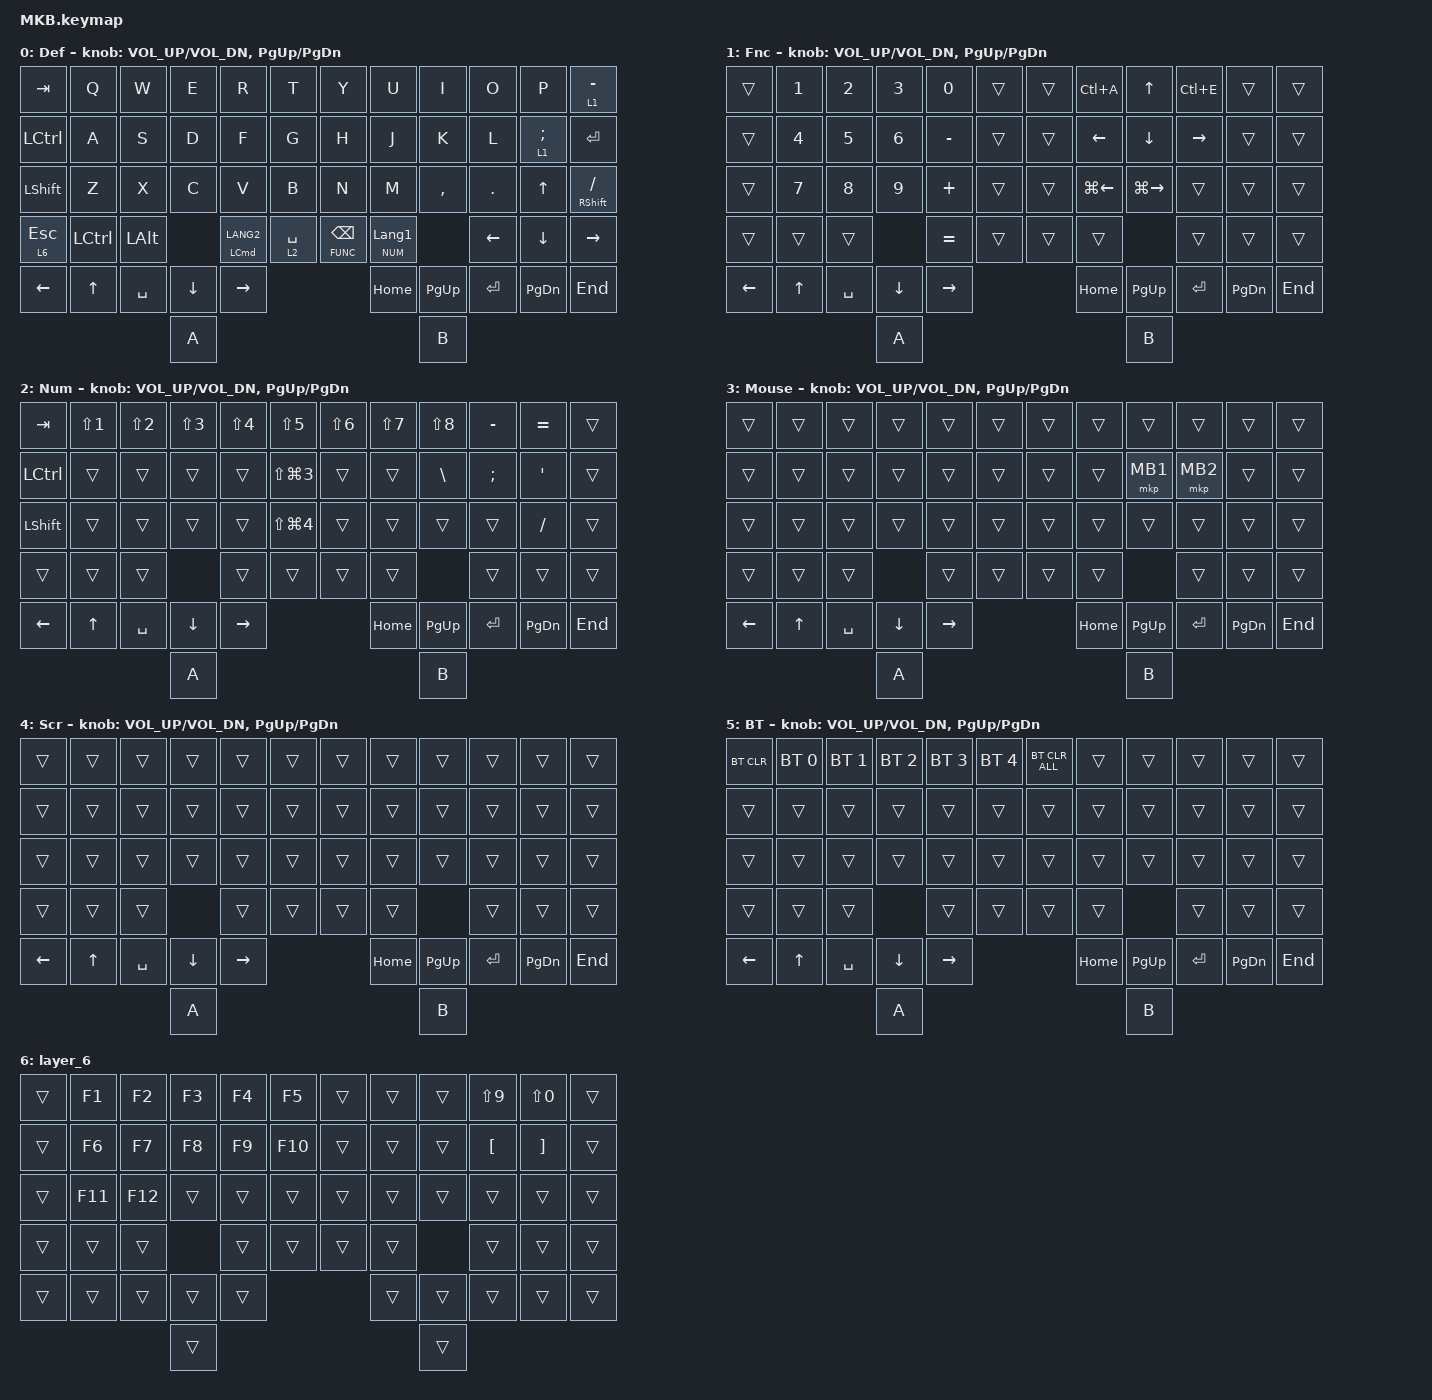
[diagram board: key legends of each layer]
// #include <layout_shift.dtsi>

#include <layout_shift_kp_override.dtsi>
#include <behaviors.dtsi>
#include <dt-bindings/zmk/bt.h>
#include <dt-bindings/zmk/keys.h>
#include <dt-bindings/zmk/pointing.h>

#define DEF 0
#define FUNC 1
#define NUM 2
#define MOUSE 3
#define SCROLL 4
#define BT 5

&mt {
    flavor = "balanced";
    tapping-term-ms = <280>;
    quick-tap-ms = <175>;
    require-prior-idle-ms = <150>;
};

/ {
    keymap {
        compatible = "zmk,keymap";

        default_layer {
            label = "Def";
            bindings = <
&kp TAB    &kp Q      &kp W         &kp E     &kp R                   &kp T            &kp Y               &kp U               &kp I      &kp O      &kp P       &lt 1 MINUS
&kp LCTRL  &kp A      &kp S         &kp D     &kp F                   &kp G            &kp H               &kp J               &kp K      &kp L      &lt 1 SEMI  &kp ENTER
&kp LSHFT  &kp Z      &kp X         &kp C     &kp V                   &kp B            &kp N               &kp M               &kp COMMA  &kp DOT    &kp UP      &mt RIGHT_SHIFT SLASH
&lt 6 ESC  &kp LCTRL  &kp LEFT_ALT            &mt LEFT_COMMAND LANG2  &lt 2 SPACE      &lt FUNC BACKSPACE  &lt NUM LANGUAGE_1             &kp LEFT   &kp DOWN    &kp RIGHT
&kp LEFT   &kp UP     &kp SPACE     &kp DOWN  &kp RIGHT                                                    &kp HOME            &kp PG_UP  &kp ENTER  &kp PG_DN   &kp END
                                    &kp A                                                                                      &kp B
            >;

            sensor-bindings = <&inc_dec_kp C_VOL_UP C_VOL_DN &inc_dec_kp PG_UP PG_DN>;
        };

        function_layer {
            label = "Fnc";
            bindings = <
&trans    &kp NUMBER_1  &kp NUMBER_2  &kp NUMBER_3  &kp NUMBER_0  &trans      &trans  &kp LC(A)       &kp UP_ARROW    &kp LC(E)        &trans     &trans
&trans    &kp NUMBER_4  &kp NUMBER_5  &kp NUMBER_6  &kp MINUS     &trans      &trans  &kp LEFT_ARROW  &kp DOWN_ARROW  &kp RIGHT_ARROW  &trans     &trans
&trans    &kp NUMBER_7  &kp NUMBER_8  &kp NUMBER_9  &kp PLUS      &trans      &trans  &kp LG(LEFT)    &kp LG(RIGHT)   &trans           &trans     &trans
&trans    &trans        &trans                      &kp EQUAL     &trans      &trans  &trans                          &trans           &trans     &trans
&kp LEFT  &kp UP        &kp SPACE     &kp DOWN      &kp RIGHT                         &kp HOME        &kp PG_UP       &kp ENTER        &kp PG_DN  &kp END
                                      &kp A                                                           &kp B
            >;

            sensor-bindings = <&inc_dec_kp C_VOL_UP C_VOL_DN &inc_dec_kp PG_UP PG_DN>;
        };

        num_layer {
            label = "Num";
            bindings = <
&kp TAB           &kp LS(N1)  &kp LS(N2)  &kp LS(N3)  &kp LS(N4)  &kp LS(N5)                &kp LS(N6)  &kp LS(N7)  &kp LS(N8)     &kp MINUS  &kp EQUAL  &trans
&kp LEFT_CONTROL  &trans      &trans      &trans      &trans      &kp LS(LG(NUMBER_3))      &trans      &trans      &kp BACKSLASH  &kp SEMI   &kp SQT    &trans
&kp LSHFT         &trans      &trans      &trans      &trans      &kp LS(LG(NUMBER_4))      &trans      &trans      &trans         &trans     &kp SLASH  &trans
&trans            &trans      &trans                  &trans      &trans                    &trans      &trans                     &trans     &trans     &trans
&kp LEFT          &kp UP      &kp SPACE   &kp DOWN    &kp RIGHT                                         &kp HOME    &kp PG_UP      &kp ENTER  &kp PG_DN  &kp END
                                          &kp A                                                                     &kp B
            >;

            sensor-bindings = <&inc_dec_kp C_VOL_UP C_VOL_DN &inc_dec_kp PG_UP PG_DN>;
        };

        mouse_layer {
            label = "Mouse";
            bindings = <
&trans    &trans  &trans     &trans    &trans     &trans      &trans  &trans    &trans     &trans     &trans     &trans
&trans    &trans  &trans     &trans    &trans     &trans      &trans  &trans    &mkp MB1   &mkp MB2   &trans     &trans
&trans    &trans  &trans     &trans    &trans     &trans      &trans  &trans    &trans     &trans     &trans     &trans
&trans    &trans  &trans               &trans     &trans      &trans  &trans               &trans     &trans     &trans
&kp LEFT  &kp UP  &kp SPACE  &kp DOWN  &kp RIGHT                      &kp HOME  &kp PG_UP  &kp ENTER  &kp PG_DN  &kp END
                             &kp A                                              &kp B
            >;

            sensor-bindings = <&inc_dec_kp C_VOL_UP C_VOL_DN &inc_dec_kp PG_UP PG_DN>;
        };

        scroll_layer {
            label = "Scr";
            bindings = <
&trans    &trans  &trans     &trans    &trans     &trans      &trans  &trans    &trans     &trans     &trans     &trans
&trans    &trans  &trans     &trans    &trans     &trans      &trans  &trans    &trans     &trans     &trans     &trans
&trans    &trans  &trans     &trans    &trans     &trans      &trans  &trans    &trans     &trans     &trans     &trans
&trans    &trans  &trans               &trans     &trans      &trans  &trans               &trans     &trans     &trans
&kp LEFT  &kp UP  &kp SPACE  &kp DOWN  &kp RIGHT                      &kp HOME  &kp PG_UP  &kp ENTER  &kp PG_DN  &kp END
                             &kp A                                              &kp B
            >;

            sensor-bindings = <&inc_dec_kp C_VOL_UP C_VOL_DN &inc_dec_kp PG_UP PG_DN>;
        };

        bt_layer {
            label = "BT";
            bindings = <
&bt BT_CLR  &bt BT_SEL 0  &bt BT_SEL 1  &bt BT_SEL 2  &bt BT_SEL 3  &bt BT_SEL 4      &bt BT_CLR_ALL  &trans    &trans     &trans     &trans     &trans
&trans      &trans        &trans        &trans        &trans        &trans            &trans          &trans    &trans     &trans     &trans     &trans
&trans      &trans        &trans        &trans        &trans        &trans            &trans          &trans    &trans     &trans     &trans     &trans
&trans      &trans        &trans                      &trans        &trans            &trans          &trans               &trans     &trans     &trans
&kp LEFT    &kp UP        &kp SPACE     &kp DOWN      &kp RIGHT                                       &kp HOME  &kp PG_UP  &kp ENTER  &kp PG_DN  &kp END
                                        &kp A                                                                   &kp B
            >;

            sensor-bindings = <&inc_dec_kp C_VOL_UP C_VOL_DN &inc_dec_kp PG_UP PG_DN>;
        };

        layer_6 {
            bindings = <
&trans  &kp F1   &kp F2   &kp F3  &kp F4  &kp F5       &trans  &trans  &trans  &kp LS(N9)        &kp LS(N0)         &trans
&trans  &kp F6   &kp F7   &kp F8  &kp F9  &kp F10      &trans  &trans  &trans  &kp LEFT_BRACKET  &kp RIGHT_BRACKET  &trans
&trans  &kp F11  &kp F12  &trans  &trans  &trans       &trans  &trans  &trans  &trans            &trans             &trans
&trans  &trans   &trans           &trans  &trans       &trans  &trans          &trans            &trans             &trans
&trans  &trans   &trans   &trans  &trans                       &trans  &trans  &trans            &trans             &trans
                          &trans                                       &trans
            >;
        };
    };
};
